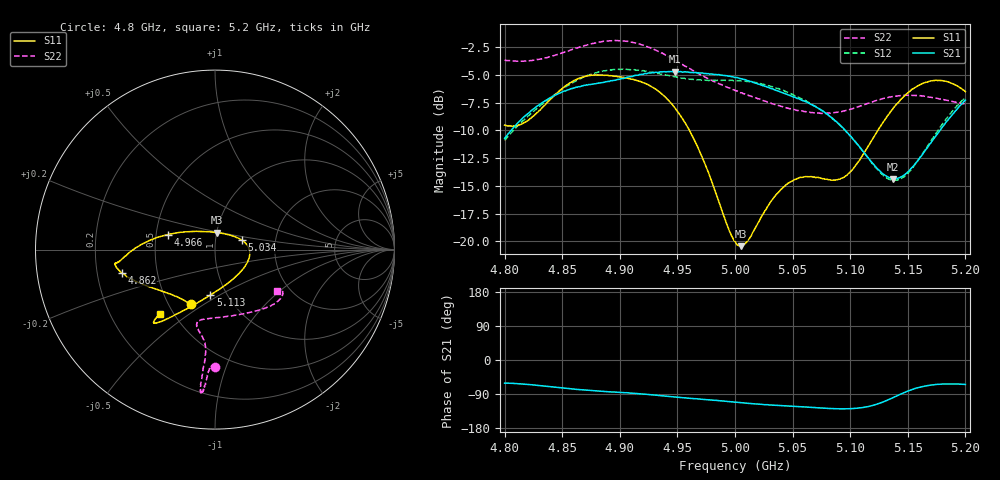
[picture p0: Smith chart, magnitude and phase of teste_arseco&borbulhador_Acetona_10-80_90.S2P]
! Network Analyzer HP8722D
! Hewlett-Packard
! Data name: Linha & Wilkinson
! Saver's name: Rodrigo Anjos
! Comments: Teste da utilização de aquisição
! continua pelo VNA HP8722D
! Time and date: 17/4/2025 15:06
!  Frequency  S11  S21  S12  S22
# HZ  S  MA R 50
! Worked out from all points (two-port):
!   401 points, 4.8 GHz to 5.2 GHz, reference 50 ohm
!   highest |S21| = -4.69 dB at 4.948 GHz (marker M1); lowest = -14.4 dB at 5.137 GHz (marker M2)
!   |S21| within 3 dB of the highest: 4.83 GHz to 5.067 GHz (237 MHz wide, 4.79 % of centre); 5.196061 GHz to end of sweep
!   lowest |S11| = -20.4 dB at 5.005 GHz (marker M3), VSWR 1.21, Z = 50.3 + j9.58 ohm
!   |S11| at or under -10 dB: 4.96 GHz to 5.124 GHz (163.5 MHz wide, 3.24 % of centre)
!   |S22| runs from -8.5 to -1.9 dB; largest |S21 - S12| = 0.87
!   S11 on the Smith chart (normalised r, x): 4.8 GHz: 0.64, -0.44; 4.862 GHz: 0.31, -0.11; 4.966 GHz: 0.57, +0.10; 5.034 GHz: 1.34, +0.15; 5.113 GHz: 0.84, -0.45; 5.2 GHz: 0.42, -0.39
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4.8e9  0.3341 -113.7  0.2911 -61.0  0.2851 -175.1  0.6565 -90.2
4.819e9  0.3476 -133.6  0.372 -64.2  0.3606 -173.9  0.6508 -91.7
4.862e9  0.5359 -166.1  0.4959 -77.4  0.5296 -177.1  0.7437 -94.0
4.867e9  0.5482 -168.0  0.5021 -78.9  0.5438 -178.2  0.7571 -94.3
4.902e9  0.549 -172.6  0.5417 -85.8  0.5978 174.8  0.8006 -95.7
4.934e9  0.4735 -178.4  0.5783 -93.8  0.5721 171.7  0.7148 -95.9
4.948e9  0.3985 174.9  0.5828 -97.8  0.5523 171.9  0.6543 -95.6
4.966e9  0.2773 162.5  0.5765 -102.1  0.5358 173.6  0.5789 -95.2
5e9  0.1 100.3  0.5476 -111.3  0.531 176.0  0.4789 -99.3
5.005e9  0.09509 82.5  0.5406 -112.7  0.5278 175.9  0.4668 -100.5
5.012e9  0.1021 59.6  0.5286 -114.6  0.5249 175.7  0.4539 -101.8
5.034e9  0.1583 19.8  0.4825 -119.5  0.494 174.5  0.4144 -103.5
5.05e9  0.1873 3.5  0.4494 -122.2  0.4591 173.9  0.3936 -99.5
5.067e9  0.1954 -14.6  0.4128 -125.1  0.4148 173.5  0.3806 -90.5
5.093e9  0.1929 -59.0  0.327 -128.8  0.3271 174.0  0.385 -70.3
5.113e9  0.255 -95.9  0.2472 -124.2  0.2472 -179.7  0.4146 -54.8
5.134e9  0.377 -116.9  0.1935 -103.8  0.1901 -156.7  0.4469 -43.0
5.137e9  0.3954 -118.7  0.1912 -99.6  0.1885 -152.0  0.4496 -41.7
5.15e9  0.4667 -124.5  0.2053 -82.0  0.2022 -131.9  0.4554 -36.8
5.17e9  0.5282 -129.1  0.2775 -66.3  0.2832 -112.4  0.4463 -32.0
5.184e9  0.525 -130.4  0.3485 -63.1  0.3604 -107.4  0.4327 -31.1
5.2e9  0.473 -130.8  0.433 -64.5  0.4445 -106.7  0.4153 -33.5
